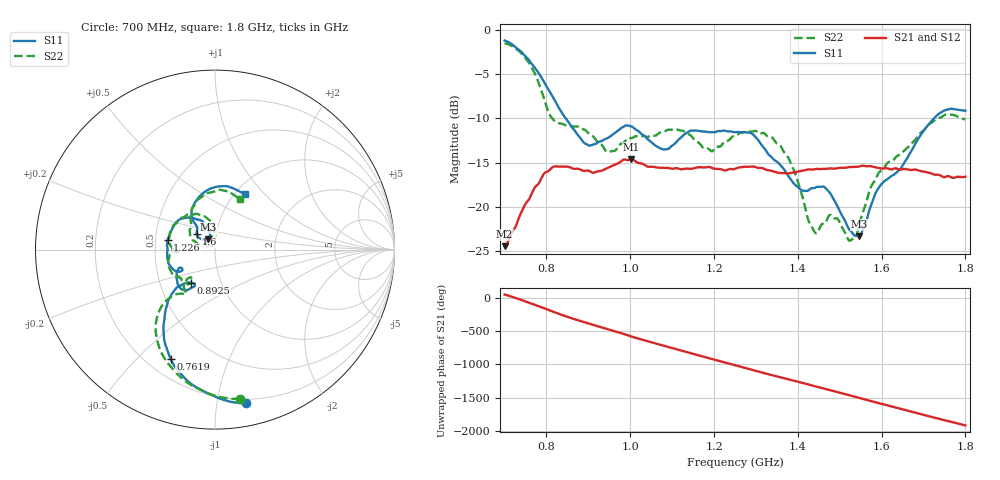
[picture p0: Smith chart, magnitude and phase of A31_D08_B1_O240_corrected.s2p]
! Created with skrf 1.9.0 (http://scikit-rf.org).
# Hz S RI R 50.0
!freq ReS11 ImS11 ReS21 ImS21 ReS12 ImS12 ReS22 ImS22
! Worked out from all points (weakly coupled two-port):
!   1601 points, 700 MHz to 1.8 GHz, reference 50 ohm
!   highest |S21| = -14.62 dB at 1.002 GHz (marker M1); lowest = -24.4 dB at 700 MHz (marker M2)
!   lowest |S11| = -23.3 dB at 1.546 GHz (marker M3), VSWR 1.15, Z = 46 + j5.23 ohm
!   |S11| at or under -10 dB: 846.6 MHz to 1.725 GHz (878.2 MHz wide, 68.3 % of centre)
!   |S22| runs from -23.8 to -1.5 dB; largest |S21 - S12| = 0.0037
!   S11 on the Smith chart (normalised r, x): 700 MHz: 0.17, -1.21; 761.9 MHz: 0.30, -0.63; 892.5 MHz: 0.72, -0.28; 1.226 GHz: 0.58, +0.07; 1.6 GHz: 0.80, +0.14; 1.8 GHz: 1.11, +0.78
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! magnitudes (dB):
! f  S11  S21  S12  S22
! 700 MHz  -1.2  -24.4  -24.2  -1.5
! 761.9 MHz  -3.7  -18.8  -18.8  -4.0
! 814.1 MHz  -7.5  -15.5  -15.6  -10.0
! 883.6 MHz  -12.4  -15.8  -15.7  -11.2
! 892.5 MHz  -12.8  -15.9  -16.0  -11.3
! 946.8 MHz  -12.2  -15.6  -15.6  -13.8
! 1.002 GHz  -10.9  -14.6  -14.7  -12.2
! 1.067 GHz  -13.3  -15.6  -15.5  -11.7
! 1.194 GHz  -11.5  -15.6  -15.5  -13.7
! 1.226 GHz  -11.4  -15.9  -15.8  -12.6
! 1.25 GHz  -11.5  -15.7  -15.6  -11.9
! 1.292 GHz  -11.8  -15.4  -15.5  -11.5
! 1.358 GHz  -15.3  -16.2  -16.1  -13.1
! 1.392 GHz  -17.5  -16.1  -16.1  -16.0
! 1.434 GHz  -17.9  -15.8  -15.7  -22.3
! 1.48 GHz  -18.6  -15.6  -15.7  -21.0
! 1.526 GHz  -22.7  -15.5  -15.5  -23.8
! 1.546 GHz  -23.3  -15.4  -15.4  -22.1
! 1.6 GHz  -17.4  -15.7  -15.6  -15.8
! 1.617 GHz  -16.7  -15.7  -15.6  -14.9
! 1.733 GHz  -9.6  -16.4  -16.4  -10.0
! 1.8 GHz  -9.1  -16.6  -16.6  -10.1
